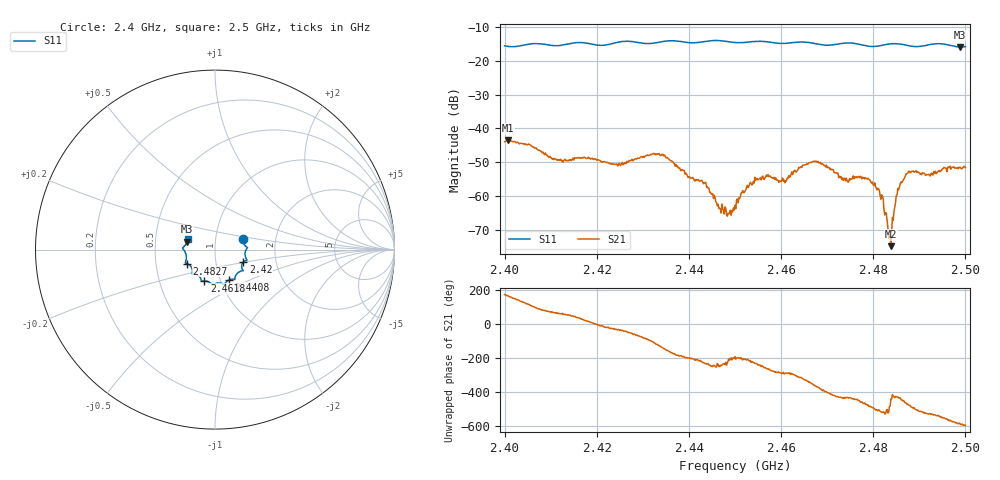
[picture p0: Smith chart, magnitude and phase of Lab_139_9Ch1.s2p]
# Hz S RI R 50
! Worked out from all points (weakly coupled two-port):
!   601 points, 2.4 GHz to 2.5 GHz, reference 50 ohm
!   highest |S21| = -43.58 dB at 2.4007 GHz (marker M1); lowest = -74.9 dB at 2.4838 GHz (marker M2)
!   lowest |S11| = -15.9 dB at 2.4988 GHz (marker M3), VSWR 1.38, Z = 36.5 + j3.33 ohm
!   |S11| at or under -10 dB: start of sweep to end of sweep
!   S12 and S22 are empty: the file has one direction only
!   S11 on the Smith chart (normalised r, x): 2.4 GHz: 1.36, +0.17; 2.42 GHz: 1.36, -0.19; 2.4408 GHz: 1.10, -0.38; 2.4618 GHz: 0.84, -0.30; 2.4827 GHz: 0.72, -0.12; 2.5 GHz: 0.73, +0.09
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2.4e9  0.1559 0.0618  -0.00633 0.000563  0 0  0 0
2.400667e9  0.1558 0.0538  -0.00646 0.00145  0 0  0 0
2.416667e9  0.178 -0.0595  0.00319 0.00175  0 0  0 0
2.42e9  0.1577 -0.0693  0.00336 -9.41e-05  0 0  0 0
2.433333e9  0.1119 -0.1521  -0.00234 -0.0035  0 0  0 0
2.440833e9  0.079 -0.1687  -0.00172 0.000743  0 0  0 0
2.443167e9  0.0597 -0.1839  -0.00104 0.00109  0 0  0 0
2.447167e9  0.0484 -0.1932  -0.000366 0.00066  0 0  0 0
2.45e9  0.0279 -0.186  -0.00071 0.000138  0 0  0 0
2.454833e9  -0.0107 -0.1956  -0.00103 0.00146  0 0  0 0
2.461833e9  -0.06 -0.1752  0.000525 0.00181  0 0  0 0
2.466667e9  -0.077 -0.1685  0.00313 0.000584  0 0  0 0
2.474167e9  -0.1257 -0.1355  0.000542 -0.00174  0 0  0 0
2.478833e9  -0.128 -0.106  -0.000762 -0.00165  0 0  0 0
2.481667e9  -0.1488 -0.0814  -0.000812 -0.000361  0 0  0 0
2.482667e9  -0.1571 -0.0778  -0.000546 -0.000124  0 0  0 0
2.483333e9  -0.1612 -0.0763  -0.000221 -7.68e-05  0 0  0 0
2.483833e9  -0.1634 -0.0757  3.11e-05 -0.000176  0 0  0 0
2.4855e9  -0.1647 -0.0711  0.000354 -0.00118  0 0  0 0
2.4875e9  -0.1601 -0.0557  -0.000806 -0.002  0 0  0 0
2.498833e9  -0.155 0.0444  -0.00183 0.00193  0 0  0 0
2.5e9  -0.1518 0.0614  -0.00144 0.00218  0 0  0 0
